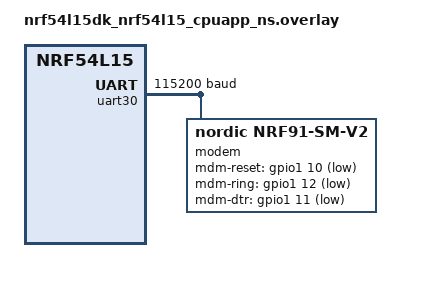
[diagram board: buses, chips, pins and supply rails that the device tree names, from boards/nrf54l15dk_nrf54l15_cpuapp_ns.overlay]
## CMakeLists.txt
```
#
# Copyright (c) 2026 Nordic Semiconductor ASA
#
# SPDX-License-Identifier: LicenseRef-Nordic-5-Clause
#

cmake_minimum_required(VERSION 3.20.0)

# Bundled nrf91-sm driver (see drivers/nrf91-sm/).
set(NRF91SM_DRIVER_DIR ${CMAKE_CURRENT_SOURCE_DIR}/drivers/nrf91-sm)
list(APPEND EXTRA_ZEPHYR_MODULES ${NRF91SM_DRIVER_DIR})

find_package(Zephyr REQUIRED HINTS $ENV{ZEPHYR_BASE})
project("Serial Modem Host - 91m1")

# Memfault CoAP includes unused nRF91 modem headers. Provide stubs on host MCU builds.
if(CONFIG_MEMFAULT_USE_NRF_CLOUD_COAP AND NOT CONFIG_NRF_MODEM_LIB)
	set(MEMFAULT_MODEM_SHIM ${CMAKE_CURRENT_SOURCE_DIR}/cmake/memfault-modem-shim)
	set(MEMFAULT_LIB_TARGET ..__modules__lib__memfault-firmware-sdk__ports__zephyr)
	if(TARGET ${MEMFAULT_LIB_TARGET})
		target_include_directories(${MEMFAULT_LIB_TARGET} BEFORE PRIVATE ${MEMFAULT_MODEM_SHIM})
	endif()
endif()

set(SMHA_LIB_DIR ${CMAKE_CURRENT_SOURCE_DIR}/../../lib)

zephyr_include_directories(
	${SMHA_LIB_DIR}/include
	${CMAKE_CURRENT_SOURCE_DIR}/src
)

target_sources(app PRIVATE
	src/main.c
	src/modem_reset.c
	src/modules/network/network.c
	src/modules/cloud/cloud.c
)

target_sources_ifdef(CONFIG_SHELL app PRIVATE src/modules/network/network_shell.c)
target_sources_ifdef(CONFIG_APP_FOTA app PRIVATE src/modules/fota/fota.c)
target_sources_ifdef(CONFIG_APP_FOTA_SHELL app PRIVATE src/modules/fota/fota_shell.c)
```

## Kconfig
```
#
# Copyright (c) 2026 Nordic Semiconductor ASA
#
# SPDX-License-Identifier: LicenseRef-Nordic-5-Clause
#

menu "Serial Modem Host 91m1"

rsource "src/Kconfig.main"
rsource "src/modules/network/Kconfig.network"
rsource "src/modules/cloud/Kconfig.cloud"
rsource "src/modules/fota/Kconfig.fota"

# Redefine symbol due to it being dependent on nRF Modem Library in the original definition.
config MEMFAULT_USE_NRF_CLOUD_COAP
	bool "Use nRF Cloud CoAP for device communication"
	default y

endmenu

menu "Zephyr Kernel"
source "Kconfig.zephyr"
endmenu
```

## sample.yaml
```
sample:
  name: Serial Modem Host 91m1
  description: Host application for nRF91M1 Smart Modem.
tests:
  serial_modem_host.applications.91m1:
    sysbuild: true
    build_only: true
    integration_platforms:
      - nrf54l15dk/nrf54l15/cpuapp/ns
    platform_allow:
      - nrf54l15dk/nrf54l15/cpuapp/ns
    tags:
      - ci_build
```

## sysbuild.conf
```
#
# Copyright (c) 2026 Nordic Semiconductor ASA
#
# SPDX-License-Identifier: LicenseRef-Nordic-5-Clause
#

# Partition Manager sizes TFM SRAM (default 0x13000 on nRF54L15) so the NS app
# gets ~180 kB RAM instead of the static 128 kB split in the devicetree.
SB_CONFIG_PARTITION_MANAGER=y
SB_CONFIG_BOOTLOADER_MCUBOOT=n
```

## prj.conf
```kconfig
#
# Copyright (c) 2026 Nordic Semiconductor ASA
#
# SPDX-License-Identifier: LicenseRef-Nordic-5-Clause
#

# --- General -------------------------------------------------------------------

CONFIG_NCS_APPLICATION_BOOT_BANNER_STRING="Serial Modem Host 91m1"
CONFIG_NCS_SAMPLES_DEFAULTS=y
CONFIG_RESET_ON_FATAL_ERROR=n
CONFIG_USE_DT_CODE_PARTITION=y

CONFIG_FPU=y
CONFIG_PICOLIBC_IO_FLOAT=y

# --- Logging -------------------------------------------------------------------

CONFIG_LOG=y
CONFIG_LOG_MODE_DEFERRED=y
CONFIG_LOG_BUFFER_SIZE=4096

# --- RTOS / application framework ----------------------------------------------

CONFIG_ZBUS=y
CONFIG_ZBUS_MSG_SUBSCRIBER=y
CONFIG_SMF=y
CONFIG_TASK_WDT=y

CONFIG_TEST_RANDOM_GENERATOR=y

# --- Heap and stacks -----------------------------------------------------------

CONFIG_HEAP_MEM_POOL_SIZE=16384
CONFIG_MAIN_STACK_SIZE=4096
CONFIG_SYSTEM_WORKQUEUE_STACK_SIZE=3072

# --- Application modules -------------------------------------------------------

CONFIG_APP_NETWORK=y
CONFIG_APP_NETWORK_LOG_LEVEL_DBG=y

CONFIG_APP_CLOUD=y
CONFIG_APP_CLOUD_LOG_LEVEL_DBG=y

# --- Networking (PPP + conn_mgr) -----------------------------------------------

CONFIG_NETWORKING=y
CONFIG_NET_NATIVE=y
CONFIG_NET_L2_PPP=y
CONFIG_NET_L2_ETHERNET=n
CONFIG_NET_IPV4=y
CONFIG_NET_IPV6=n
CONFIG_NET_UDP=y
CONFIG_NET_TCP=y
CONFIG_NET_SOCKETS=y
CONFIG_NET_CONTEXT_RCVTIMEO=y
CONFIG_NET_MAX_CONN=12
CONFIG_NET_MAX_CONTEXTS=12
CONFIG_ZVFS_POLL_MAX=20
CONFIG_ZVFS_OPEN_MAX=20

CONFIG_NET_PKT_RX_COUNT=24
CONFIG_NET_PKT_TX_COUNT=24
CONFIG_NET_BUF_RX_COUNT=48
CONFIG_NET_BUF_TX_COUNT=48
CONFIG_NET_BUF_DATA_SIZE=256

CONFIG_DNS_RESOLVER=y
CONFIG_NET_SOCKETS_DNS_TIMEOUT=10000
CONFIG_DNS_RESOLVER_AI_MAX_ENTRIES=8
CONFIG_DNS_NUM_CONCUR_QUERIES=4
CONFIG_DNS_RESOLVER_MAX_SERVERS=4
CONFIG_DNS_SERVER_IP_ADDRESSES=y
CONFIG_DNS_SERVER1="8.8.8.8"
CONFIG_DNS_SERVER2="1.1.1.1"
CONFIG_NET_L2_PPP_OPTION_DNS_USE=y

CONFIG_NET_MGMT=y
CONFIG_NET_MGMT_EVENT=y
CONFIG_NET_CONNECTION_MANAGER=y
CONFIG_NET_CONNECTION_MANAGER_MONITOR_STACK_SIZE=512
CONFIG_NET_MGMT_EVENT_STACK_SIZE=800

# --- Cellular modem (nordic,nrf91-sm-v2 on uart30) -----------------------------

CONFIG_MODEM=y
CONFIG_MODEM_CELLULAR=y
CONFIG_MODEM_DEDICATED_WORKQUEUE=y
CONFIG_PM_DEVICE=y
CONFIG_PM_DEVICE_RUNTIME=y
CONFIG_PM_DEVICE_RUNTIME_USE_DEDICATED_WQ=y
CONFIG_MODEM_CMUX_MTU=127
CONFIG_MODEM_CMUX_WORK_BUFFER_SIZE_EXTRA=532
CONFIG_MODEM_CELLULAR_UART_BUFFER_SIZES=532

# --- Shell and TLS credentials -------------------------------------------------

CONFIG_SHELL=y
CONFIG_SHELL_STACK_SIZE=4096
CONFIG_NET_SHELL=y
CONFIG_TLS_CREDENTIALS=y
CONFIG_TLS_CREDENTIALS_SHELL=y
CONFIG_TLS_CREDENTIALS_SHELL_CRED_BUF_SIZE=3072
CONFIG_TLS_CREDENTIALS_BACKEND_PROTECTED_STORAGE=y
# nRF Cloud credentials (CA, client cert, private key) in protected storage.
CONFIG_TLS_MAX_CREDENTIALS_NUMBER=4
CONFIG_TFM_PARTITION_PROTECTED_STORAGE=y
CONFIG_BASE64=y
CONFIG_SETTINGS=y

# --- nRF Cloud CoAP (host-native over PPP) -------------------------------------

CONFIG_NRF_CLOUD=y
CONFIG_NRF_CLOUD_COAP=y
CONFIG_NRF_CLOUD_COAP_DOWNLOADS=n
CONFIG_NRF_CLOUD_CHECK_CREDENTIALS=y
CONFIG_NRF_CLOUD_CREDENTIALS_MGMT_TLS_CRED=y
CONFIG_NRF_CLOUD_JWT_SOURCE_CUSTOM=y

CONFIG_HW_ID_LIBRARY=y
CONFIG_HW_ID_LIBRARY_SOURCE_DEVICE_ID=y
CONFIG_NRF_CLOUD_CLIENT_ID_SRC_HW_ID=y

CONFIG_COAP_CLIENT_BLOCK_SIZE=1024
CONFIG_COAP_CLIENT_STACK_SIZE=4096
CONFIG_COAP_CLIENT_THREAD_PRIORITY=0
CONFIG_COAP_EXTENDED_OPTIONS_LEN_VALUE=192
CONFIG_NRF_CLOUD_COAP_MAX_USER_OPTIONS=2
CONFIG_COAP_CLIENT_MAX_EXTRA_OPTIONS=3

CONFIG_DATE_TIME=y
CONFIG_DATE_TIME_NTP=y
CONFIG_DATE_TIME_RETRY_COUNT=3

# --- Memfault ------------------------------------------------------------------

# Memfault depends on POSIX, disable unneeded POSIX features
CONFIG_POSIX_FILE_SYSTEM=n

# Memfault
CONFIG_MEMFAULT=y
CONFIG_MEMFAULT_SHELL=y
CONFIG_MEMFAULT_PERIODIC_UPLOAD=y
CONFIG_MEMFAULT_PERIODIC_UPLOAD_USE_SYSTEM_WORKQUEUE=y
CONFIG_MEMFAULT_LOGGING_ENABLE=y
CONFIG_MEMFAULT_LOGGING_RAM_SIZE=1536
CONFIG_MEMFAULT_LOG_LEVEL_DBG=y
CONFIG_MEMFAULT_NCS_STACK_METRICS=y
CONFIG_MEMFAULT_HEAP_STATS=y

# Upload Memfault data via nRF Cloud CoAP (reuses the cloud DTLS session + host JWT).
CONFIG_MEMFAULT_USE_NRF_CLOUD_COAP=y
CONFIG_MEMFAULT_HTTP_ENABLE=n

CONFIG_MEMFAULT_NCS_LOG_LEVEL_DBG=y
CONFIG_MEMFAULT_COREDUMP_COLLECT_BSS_REGIONS=y

# RAM-backed coredump (flash-backed needs CONFIG_FLASH=y and a storage partition).
CONFIG_MEMFAULT_RAM_BACKED_COREDUMP_SIZE=3072
CONFIG_PSA_WANT_ALG_SHA_1=y

# --- Crypto (host JWT signing + CoAP DTLS over native sockets) -----------------

CONFIG_NET_SOCKETS_SOCKOPT_TLS=y
CONFIG_NET_SOCKETS_ENABLE_DTLS=y
CONFIG_NET_SOCKETS_TLS_MAX_CONTEXTS=1
CONFIG_NET_SOCKETS_TLS_MAX_CREDENTIALS=4
CONFIG_MBEDTLS_SSL_DTLS_CONNECTION_ID=y
CONFIG_MBEDTLS_SSL_SERVER_NAME_INDICATION=y
CONFIG_MBEDTLS_SSL_IN_CONTENT_LEN=2048
CONFIG_MBEDTLS_SSL_OUT_CONTENT_LEN=2048
CONFIG_MBEDTLS_PEM_PARSE_C=y
CONFIG_MBEDTLS_DECLARE_PRIVATE_IDENTIFIERS=y
CONFIG_MBEDTLS_RSA_C=y
CONFIG_MBEDTLS_ECP_C=y
CONFIG_MBEDTLS_ECDSA_C=y
CONFIG_PSA_WANT_ALG_ECDH=y
CONFIG_PSA_WANT_ALG_ECDSA=y
CONFIG_PSA_WANT_ECC_SECP_R1_256=y
CONFIG_PSA_WANT_ECC_SECP_R1_384=y

CONFIG_MBEDTLS=y
CONFIG_MBEDTLS_ENABLE_HEAP=y
CONFIG_MBEDTLS_HEAP_SIZE=18200
```

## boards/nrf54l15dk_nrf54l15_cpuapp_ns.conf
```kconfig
#
# Copyright (c) 2026 Nordic Semiconductor ASA
#
# SPDX-License-Identifier: LicenseRef-Nordic-5-Clause
#

CONFIG_UART_ASYNC_API=y
CONFIG_MODEM_BACKEND_UART_ASYNC_HWFC=y

# Shell/console on uart20 uses interrupt-driven UART; modem on uart30 is async-only.
CONFIG_UART_30_INTERRUPT_DRIVEN=n
CONFIG_UART_30_ASYNC=y

# Silence TF-M logs to avoid conflicts with modem UART.
CONFIG_TFM_LOG_LEVEL_SILENCE=y

CONFIG_MODEM_CMUX_MSC_FC_THRESHOLD=32

# SFN + MM-IOVEC reduce secure-side RAM; ITS encryption
# is disabled because credentials live in Protected Storage, not ITS.
CONFIG_TFM_SFN=y
CONFIG_TFM_IPC=n
CONFIG_TFM_PSA_FRAMEWORK_HAS_MM_IOVEC=y
CONFIG_TFM_ITS_ENCRYPTED=n
```

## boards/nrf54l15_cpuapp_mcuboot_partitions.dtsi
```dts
/*
 * Copyright (c) 2026 Nordic Semiconductor ASA
 *
 * SPDX-License-Identifier: LicenseRef-Nordic-5-Clause
 *
 * MCUboot + TF-M RRAM layout for nRF54L15 DK (partition nodes only).
 * Include after deleting the board default partition nodes.
 */

&cpuapp_rram {
	partitions {
		ranges;
		#address-cells = <1>;
		#size-cells = <1>;

		boot_partition: partition@0 {
			compatible = "zephyr,mapped-partition";
			label = "mcuboot";
			reg = <0x0 0x10000>;
		};

		slot0_partition: partition@10000 {
			compatible = "zephyr,mapped-partition";
			label = "image-0";
			reg = <0x10000 0x15b000>;
			ranges = <0x0 0x10000 0x15b000>;
			#address-cells = <1>;
			#size-cells = <1>;

			slot0_s_partition: partition@0 {
				compatible = "zephyr,mapped-partition";
				label = "image-0-secure";
				reg = <0x0 0x20000>;
			};

			slot0_ns_partition: partition@20000 {
				compatible = "zephyr,mapped-partition";
				label = "image-0-nonsecure";
				reg = <0x20000 0x13b000>;
			};
		};

		storage_partition: partition@16b000 {
			compatible = "zephyr,mapped-partition";
			label = "storage";
			reg = <0x16b000 DT_SIZE_K(40)>;
		};

		tfm_storage_partition: partition@175000 {
			compatible = "zephyr,mapped-partition";
			label = "tfm-storage";
			reg = <0x175000 DT_SIZE_K(32)>;
			ranges = <0x0 0x175000 DT_SIZE_K(32)>;
			#address-cells = <1>;
			#size-cells = <1>;

			tfm_its_partition: partition@0 {
				compatible = "zephyr,mapped-partition";
				label = "tfm-its";
				reg = <0x0 DT_SIZE_K(8)>;
			};

			tfm_otp_partition: partition@2000 {
				compatible = "zephyr,mapped-partition";
				label = "tfm-otp";
				reg = <0x2000 DT_SIZE_K(8)>;
			};

			tfm_ps_partition: partition@4000 {
				compatible = "zephyr,mapped-partition";
				label = "tfm-ps";
				reg = <0x4000 DT_SIZE_K(16)>;
			};
		};
	};
};

&mx25r64 {
	status = "okay";

	partitions {
		compatible = "fixed-partitions";
		#address-cells = <1>;
		#size-cells = <1>;

		slot1_partition: partition@0 {
			label = "image-1";
			reg = <0x0 0x15b000>;
		};
	};
};
```

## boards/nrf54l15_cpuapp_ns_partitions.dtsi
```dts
/*
 * Copyright (c) 2026 Nordic Semiconductor ASA
 *
 * SPDX-License-Identifier: LicenseRef-Nordic-5-Clause
 *
 * SRAM layout for memory-optimized SFN TF-M (see board conf).
 */

/delete-node/ &slot0_partition;
/delete-node/ &storage_partition;
/delete-node/ &slot0_ns_partition;
/delete-node/ &tfm_its_partition;
/delete-node/ &tfm_otp_partition;
/delete-node/ &tfm_ps_partition;
/delete-node/ &sram0_s;
/delete-node/ &sram0_ns;

#include "nrf54l15_cpuapp_mcuboot_partitions.dtsi"

&cpuapp_sram {
	sram0_s: image_s@0 {
		#address-cells = <1>;
		#size-cells = <1>;
		reg = <0x0 0xC000>;
		ranges = <0x0 0x0 0xC000>;
	};

	sram0_ns: image_ns@c000 {
		#address-cells = <1>;
		#size-cells = <1>;
		reg = <0xC000 0x34000>;
		ranges = <0x0 0xC000 0x34000>;
	};
};
```

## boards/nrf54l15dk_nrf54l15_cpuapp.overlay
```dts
/*
 * Copyright (c) 2026 Nordic Semiconductor ASA
 *
 * SPDX-License-Identifier: LicenseRef-Nordic-5-Clause
 *
 * Placeholder overlay for nRF91M1 host UART routing.
 * Update pin assignments when the target board is finalized.
 */

/ {
	chosen {
		/* zephyr,modem-uart = &uart30; */
	};
};

/*
 * &uart30 {
 *	pinctrl-0 = <&uart30_default>;
 *	pinctrl-1 = <&uart30_sleep>;
 *	pinctrl-names = "default", "sleep";
 *	current-speed = <115200>;
 *	status = "okay";
 * };
 */
```

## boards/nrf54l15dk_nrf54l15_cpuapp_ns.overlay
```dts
/*
 * Copyright (c) 2026 Nordic Semiconductor ASA
 *
 * SPDX-License-Identifier: LicenseRef-Nordic-5-Clause
 *
 * Based on ncs-serial-modem samples/sm_ppp_shell for nRF54L15 DK + nRF9151 DK.
 * Disable VCOM0 in Board Configurator to release uart30 (P0 connector).
 *
 * Two-DK wiring (in addition to UART/DTR/RI from sm_ppp_shell):
 *   nRF54L15 P1.10 (modem reset out) -> nRF9151 DK P20 pin 7 (RESET)
 *   Add a 1 kOhm series resistor in the reset wire if VDD levels differ.
 *   Set matching VDD on both DKs in Board Configurator (typically 1.8 V).
 *
 * RRAM/SRAM partitions: nrf54l15_cpuapp_ns_partitions.dtsi (MCUboot + TF-M).
 */

#include "nrf54l15_cpuapp_ns_partitions.dtsi"

/ {
	chosen {
		zephyr,console = &uart20;
		zephyr,shell-uart = &uart20;
		nordic,pm-ext-flash = &mx25r64;
	};
	aliases {
		modem = &modem;
	};
};

&uart30 {
	status = "okay";
	current-speed = <115200>;
	hw-flow-control;
	zephyr,pm-device-runtime-auto;

	modem: modem {
		compatible = "nordic,nrf91-sm-v2";
		status = "okay";
		mdm-reset-gpios = <&gpio1 10 (GPIO_ACTIVE_LOW | GPIO_OPEN_DRAIN)>;
		mdm-ring-gpios = <&gpio1 12 (GPIO_ACTIVE_LOW | GPIO_PULL_UP)>;
		mdm-dtr-gpios = <&gpio1 11 GPIO_ACTIVE_LOW>;
		zephyr,pm-device-runtime-auto;
		cmux-enable-runtime-power-save;
		cmux-close-pipe-on-power-save;
		cmux-idle-timeout-ms = <5000>;
		autostarts;
	};
};

&gpio1 {
	status = "okay";
};
```

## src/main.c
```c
/*
 * Copyright (c) 2026 Nordic Semiconductor ASA
 *
 * SPDX-License-Identifier: LicenseRef-Nordic-5-Clause
 */

#include <zephyr/kernel.h>
#include <zephyr/logging/log.h>
#include <zephyr/logging/log_ctrl.h>
#include <zephyr/zbus/zbus.h>
#include <zephyr/task_wdt/task_wdt.h>
#include <zephyr/smf.h>
#include <zephyr/sys/reboot.h>

#include "app_common.h"
#include "modules/network/network.h"
#include "modules/cloud/cloud.h"
#include "modules/fota/fota.h"

LOG_MODULE_REGISTER(main, CONFIG_APP_MAIN_LOG_LEVEL);

BUILD_ASSERT(IS_ENABLED(CONFIG_APP_FOTA), "FOTA module is required");
BUILD_ASSERT(CONFIG_APP_MAIN_WATCHDOG_TIMEOUT_SECONDS >
	     CONFIG_APP_MAIN_MSG_PROCESSING_TIMEOUT_SECONDS,
	     "Watchdog timeout must be greater than maximum message processing time");

ZBUS_MSG_SUBSCRIBER_DEFINE(main_subscriber);

enum main_sync_msg_type {
	MAIN_CLOUD_SYNCHRONIZATION,
};

struct main_sync_msg {
	enum main_sync_msg_type type;
};

ZBUS_CHAN_DEFINE(main_sync_chan,
		 struct main_sync_msg,
		 NULL,
		 NULL,
		 ZBUS_OBSERVERS_EMPTY,
		 ZBUS_MSG_INIT(0)
);

#define CHANNEL_LIST(X) \
	X(network_chan, struct network_msg) \
	X(cloud_chan, struct cloud_msg) \
	X(fota_chan, struct fota_msg) \
	X(main_sync_chan, struct main_sync_msg)

#define MAX_MSG_SIZE MAX_MSG_SIZE_FROM_LIST(CHANNEL_LIST)
#define ADD_OBSERVERS(_chan, _type) ZBUS_CHAN_ADD_OBS(_chan, main_subscriber, 0);

CHANNEL_LIST(ADD_OBSERVERS)

/** Demo cloud payload */
#define DEMO_CLOUD_PAYLOAD \
	"{\"appId\":\"SMHA\",\"messageType\":\"DATA\",\"data\":\"hello\"}"

/** Application SMF states. */
enum main_app_state {
	/**
	 * Top-level state. Handles network, FOTA, and cloud-synchronization
	 * events. The initial substate is @ref STATE_CLOUD_DISCONNECTED.
	 */
	STATE_RUNNING,
	/**
	 * Cloud is not connected. Periodic cloud synchronization is not
	 * scheduled.
	 */
	STATE_CLOUD_DISCONNECTED,
	/**
	 * Cloud is connected. An initial cloud synchronization runs on
	 * entry and periodic synchronization is scheduled on the dedicated
	 * cloud-sync workqueue.
	 */
	STATE_CLOUD_CONNECTED,
};

struct main_state {
	struct smf_ctx ctx;
	const struct zbus_channel *chan;
	uint8_t msg_buf[MAX_MSG_SIZE];
	struct k_work_delayable cloud_sync_dwork;
};

static struct main_state main_state;
static const struct smf_state states[];

/** Cloud synchronization workqueue */
static K_THREAD_STACK_DEFINE(cloud_sync_workq_stack,
			     CONFIG_APP_MAIN_CLOUD_SYNC_WORKQ_STACK_SIZE);
static struct k_work_q cloud_sync_workq;

/** Forward declarations */

static void running_entry(void *obj);
static enum smf_state_result running_run(void *obj);
static void cloud_disconnected_entry(void *obj);
static enum smf_state_result cloud_disconnected_run(void *obj);
static void cloud_disconnected_exit(void *obj);
static void cloud_connected_entry(void *obj);
static enum smf_state_result cloud_connected_run(void *obj);
static void cloud_connected_exit(void *obj);

/** SMF state table */

static const struct smf_state states[] = {
	[STATE_RUNNING] =
		SMF_CREATE_STATE(running_entry,
				 running_run,
				 NULL,
				 NULL,
				 &states[STATE_CLOUD_DISCONNECTED]),
	[STATE_CLOUD_DISCONNECTED] =
		SMF_CREATE_STATE(cloud_disconnected_entry,
				 cloud_disconnected_run,
				 cloud_disconnected_exit,
				 &states[STATE_RUNNING],
				 NULL),
	[STATE_CLOUD_CONNECTED] =
		SMF_CREATE_STATE(cloud_connected_entry,
				 cloud_connected_run,
				 cloud_connected_exit,
				 &states[STATE_RUNNING],
				 NULL),
};

/** Convenience functions */

static void send_demo_cloud_message(void)
{
	struct cloud_msg msg = {
		.type = CLOUD_SEND_MESSAGE,
		.payload = DEMO_CLOUD_PAYLOAD,
	};
	int err;

	msg.payload_len = sizeof(DEMO_CLOUD_PAYLOAD) - 1;
	err = zbus_chan_pub(&cloud_chan, &msg, PUB_TIMEOUT);
	if (err) {
		LOG_ERR("zbus_chan_pub cloud_chan, error: %d", err);
		FATAL_ERROR();
	}
}

static void perform_cloud_synchronization(void)
{
	struct fota_msg fota_msg = { .type = FOTA_POLL_REQUEST };
	int err;

	send_demo_cloud_message();

	err = zbus_chan_pub(&fota_chan, &fota_msg, PUB_TIMEOUT);
	if (err) {
		LOG_ERR("zbus_chan_pub fota_chan, error: %d", err);
		FATAL_ERROR();
	}
}

static void cloud_sync_schedule(struct main_state *state)
{
	int err;

	err = k_work_schedule_for_queue(
		&cloud_sync_workq,
		&state->cloud_sync_dwork,
		K_SECONDS(CONFIG_APP_MAIN_CLOUD_SYNCHRONIZATION_PERIOD_SECONDS));
	if (err < 0) {
		LOG_ERR("k_work_schedule_for_queue, error: %d", err);
		FATAL_ERROR();
	}
}

static void cloud_sync_cancel(struct main_state *state)
{
	(void)k_work_cancel_delayable(&state->cloud_sync_dwork);
}

static void cloud_sync_delayed_work_handler(struct k_work *work)
{
	struct k_work_delayable *dwork = k_work_delayable_from_work(work);
	struct main_state *state = CONTAINER_OF(dwork, struct main_state, cloud_sync_dwork);
	struct main_sync_msg msg = { .type = MAIN_CLOUD_SYNCHRONIZATION };
	int err;

	err = zbus_chan_pub(&main_sync_chan, &msg, PUB_TIMEOUT);
	if (err) {
		LOG_ERR("zbus_chan_pub main_sync_chan, error: %d", err);
		FATAL_ERROR();
	}

	cloud_sync_schedule(state);
}

/** SMF state functions */

static void running_entry(void *obj)
{
	ARG_UNUSED(obj);

	LOG_DBG("running_entry");
}

static enum smf_state_result running_run(void *obj)
{
	struct main_state *state_object = obj;

	if (state_object->chan == &main_sync_chan) {
		const struct main_sync_msg *msg =
			(const struct main_sync_msg *)state_object->msg_buf;

		if (msg->type == MAIN_CLOUD_SYNCHRONIZATION) {
			perform_cloud_synchronization();
		}

		return SMF_EVENT_HANDLED;
	}

	if (state_object->chan == &network_chan) {
		const struct network_msg *msg =
			(const struct network_msg *)state_object->msg_buf;

		switch (msg->type) {
		case NETWORK_CONNECTED:
			LOG_INF("Network connected");
			break;
		case NETWORK_DISCONNECTED:
			LOG_INF("Network disconnected");
			{
				struct fota_msg fota_msg = { .type = FOTA_NETWORK_DISCONNECTED };
				int err;

				err = zbus_chan_pub(&fota_chan, &fota_msg, PUB_TIMEOUT);
				if (err) {
					LOG_ERR("zbus_chan_pub fota_chan, error: %d", err);
					FATAL_ERROR();
				}
			}
			break;
		default:
			break;
		}

		return SMF_EVENT_HANDLED;
	}

	if (state_object->chan == &fota_chan) {
		const struct fota_msg *msg = (const struct fota_msg *)state_object->msg_buf;

		switch (msg->type) {
		case FOTA_NETWORK_DISCONNECT_NEEDED:
			LOG_INF("FOTA network disconnect needed");
			break;
		case FOTA_SUCCESS:
			LOG_INF("FOTA successful, rebooting to apply the update");
			LOG_PANIC();
			sys_reboot(SYS_REBOOT_COLD);
			break;
		case FOTA_STARTING:
			LOG_INF("FOTA download starting");
			break;
		case FOTA_ABORTED:
			LOG_INF("No FOTA update available");
			break;
		default:
			break;
		}

		return SMF_EVENT_HANDLED;
	}

	return SMF_EVENT_PROPAGATE;
}

static void cloud_disconnected_entry(void *obj)
{
	ARG_UNUSED(obj);

	LOG_DBG("cloud_disconnected_entry");
}

static void cloud_disconnected_exit(void *obj)
{
	ARG_UNUSED(obj);

	LOG_DBG("cloud_disconnected_exit");
}

static enum smf_state_result cloud_disconnected_run(void *obj)
{
	struct main_state *state_object = obj;

	if (state_object->chan != &cloud_chan) {
		return SMF_EVENT_PROPAGATE;
	}

	const struct cloud_msg *msg = (const struct cloud_msg *)state_object->msg_buf;

	switch (msg->type) {
	case CLOUD_CONNECTED:
		LOG_INF("Cloud connected");
		smf_set_state(SMF_CTX(state_object), &states[STATE_CLOUD_CONNECTED]);
		break;
	default:
		break;
	}

	return SMF_EVENT_HANDLED;
}

static void cloud_connected_entry(void *obj)
{
	struct main_state *state_object = obj;

	LOG_DBG("cloud_connected_entry");

	perform_cloud_synchronization();
	cloud_sync_schedule(state_object);
}

static void cloud_connected_exit(void *obj)
{
	struct main_state *state_object = obj;

	LOG_DBG("cloud_connected_exit");

	cloud_sync_cancel(state_object);
}

static enum smf_state_result cloud_connected_run(void *obj)
{
	struct main_state *state_object = obj;

	if (state_object->chan != &cloud_chan) {
		return SMF_EVENT_PROPAGATE;
	}

	const struct cloud_msg *msg = (const struct cloud_msg *)state_object->msg_buf;

	switch (msg->type) {
	case CLOUD_DISCONNECTED:
		LOG_INF("Cloud disconnected");
		smf_set_state(SMF_CTX(state_object), &states[STATE_CLOUD_DISCONNECTED]);
		break;
	case CLOUD_MESSAGE_SENT:
		LOG_INF("Cloud message sent");
		break;
	default:
		break;
	}

	return SMF_EVENT_HANDLED;
}

static void main_wdt_callback(int channel_id, void *user_data)
{
	LOG_ERR("Main watchdog expired, channel: %d, thread: %s",
		channel_id, k_thread_name_get((k_tid_t)user_data));

	FATAL_ERROR_WATCHDOG_TIMEOUT();
}

int main(void)
{
	int err;
	int task_wdt_id;
	const uint32_t wdt_timeout_ms =
		(CONFIG_APP_MAIN_WATCHDOG_TIMEOUT_SECONDS * MSEC_PER_SEC);
	const uint32_t execution_time_ms =
		(CONFIG_APP_MAIN_MSG_PROCESSING_TIMEOUT_SECONDS * MSEC_PER_SEC);
	const k_timeout_t zbus_wait = K_MSEC(wdt_timeout_ms - execution_time_ms);
	struct k_work_queue_config cloud_sync_workq_cfg = {
		.name = "cloud_sync",
	};

	k_work_queue_init(&cloud_sync_workq);
	k_work_queue_start(&cloud_sync_workq,
			   cloud_sync_workq_stack,
			   K_THREAD_STACK_SIZEOF(cloud_sync_workq_stack),
			   CONFIG_APP_MAIN_CLOUD_SYNC_WORKQ_PRIORITY,
			   &cloud_sync_workq_cfg);
	k_work_init_delayable(&main_state.cloud_sync_dwork, cloud_sync_delayed_work_handler);

	task_wdt_id = task_wdt_add(wdt_timeout_ms, main_wdt_callback, (void *)k_current_get());
	if (task_wdt_id < 0) {
		LOG_ERR("Failed to add task to watchdog: %d", task_wdt_id);
		FATAL_ERROR();
		return -EFAULT;
	}

	smf_set_initial(SMF_CTX(&main_state), &states[STATE_RUNNING]);

	while (true) {
		err = task_wdt_feed(task_wdt_id);
		if (err) {
			LOG_ERR("task_wdt_feed, error: %d", err);
			FATAL_ERROR();
			return -EFAULT;
		}

		err = zbus_sub_wait_msg(&main_subscriber, &main_state.chan,
					main_state.msg_buf, zbus_wait);
		if (err == -ENOMSG) {
			continue;
		} else if (err) {
			LOG_ERR("zbus_sub_wait_msg, error: %d", err);
			FATAL_ERROR();
			return -EFAULT;
		}

		err = smf_run_state(SMF_CTX(&main_state));
		if (err) {
			LOG_ERR("smf_run_state(), error: %d", err);
			FATAL_ERROR();
			return -EFAULT;
		}
	}

	return 0;
}
```

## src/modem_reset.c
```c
/*
 * Copyright (c) 2026 Nordic Semiconductor ASA
 *
 * SPDX-License-Identifier: LicenseRef-Nordic-5-Clause
 */

#include <zephyr/devicetree.h>
#include <zephyr/drivers/gpio.h>
#include <zephyr/init.h>
#include <zephyr/kernel.h>

#define MODEM_NODE DT_ALIAS(modem)

#if DT_NODE_HAS_PROP(MODEM_NODE, mdm_reset_gpios)

#define MODEM_RESET_PULSE_MS 500
#define MODEM_STARTUP_TIME_MS 2000

static int modem_reset_on_host_boot(void)
{
	const struct gpio_dt_spec reset = GPIO_DT_SPEC_GET(MODEM_NODE, mdm_reset_gpios);
	int err;

	if (!gpio_is_ready_dt(&reset)) {
		return -ENODEV;
	}

	err = gpio_pin_configure_dt(&reset, GPIO_OUTPUT_INACTIVE);
	if (err != 0) {
		return err;
	}

	gpio_pin_set_dt(&reset, 1);
	k_msleep(MODEM_RESET_PULSE_MS);
	gpio_pin_set_dt(&reset, 0);
	k_msleep(MODEM_STARTUP_TIME_MS);

	return 0;
}

SYS_INIT(modem_reset_on_host_boot, POST_KERNEL, 50);

#endif
```
